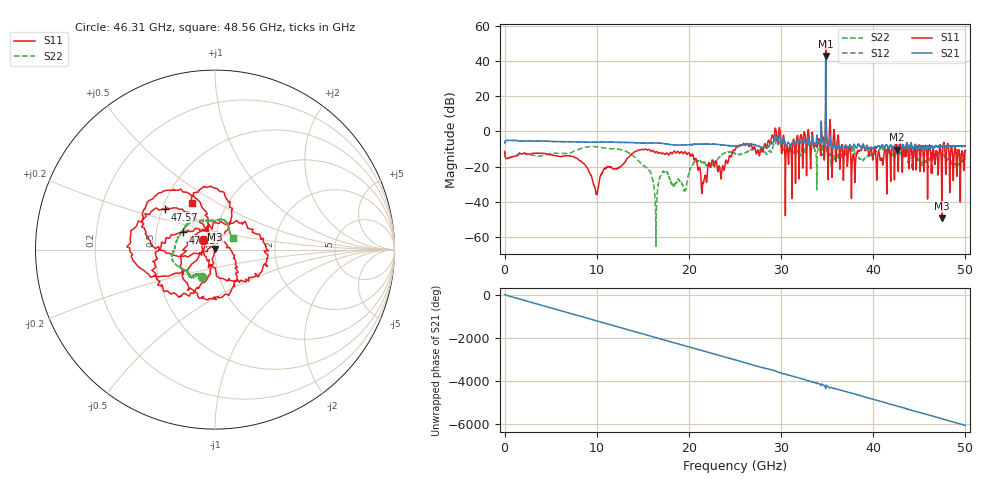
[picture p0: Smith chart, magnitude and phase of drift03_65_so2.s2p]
!Created with skrf (http://scikit-rf.org).
# Hz S RI R 50.0
!freq ReS11 ImS11 ReS21 ImS21 ReS12 ImS12 ReS22 ImS22
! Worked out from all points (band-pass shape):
!   10001 points, 300 kHz to 50 GHz, reference 50 ohm
!   highest |S21| = 42.84 dB at 34.85 GHz (marker M1); lowest = -10.4 dB at 42.56 GHz (marker M2)
!   |S21| within 3 dB of the highest: 34.84449 GHz to 34.84556 GHz (1.061 MHz wide, 0.00304 % of centre)
!   lowest |S11| = -49.2 dB at 47.44 GHz (marker M3), VSWR 1.01, Z = 50 + j0.342 ohm
!   |S11| at or under -10 dB: start of sweep to 15.23 GHz; 15.31 GHz to 25.05 GHz (9.74 GHz wide, 48.3 % of centre); 40.22 GHz to 41.61 GHz (1.394 GHz wide, 3.41 % of centre) (the widest 3 of 54)
!   |S22| runs from -65.1 to 33.9 dB; largest |S21 - S12| = 20
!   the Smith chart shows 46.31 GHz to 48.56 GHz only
!   S11 on the Smith chart (normalised r, x): 46.31 GHz: 0.87, +0.09; 47.13 GHz: 0.69, +0.14; 47.57 GHz: 0.52, +0.27; 48.56 GHz: 0.68, +0.39
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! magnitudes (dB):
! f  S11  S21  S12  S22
! 300 kHz  -11.3  -6.5  -6.5  -11.4
! 8.335 GHz  -17.1  -6.0  -6.0  -9.6
! 9.955 GHz  -35.6  -6.1  -6.1  -8.7
! 13.79 GHz  -12.6  -6.3  -6.3  -13.2
! 16.67 GHz  -12.4  -6.5  -6.5  -30.0
! 17.34 GHz  -12.8  -6.9  -6.9  -22.9
! 19.55 GHz  -11.7  -7.7  -7.7  -33.4
! 20.22 GHz  -13.8  -7.5  -7.5  -20.4
! 21.55 GHz  -28.8  -7.2  -7.2  -17.7
! 25 GHz  -10.6  -8.3  -8.2  -12.6
! 33.34 GHz  -3.8  -6.8  -6.7  -9.4
! 34.85 GHz  51.6  42.8  42.6  33.9
! 37.83 GHz  -12.8  -8.2  -8.2  -9.7
! 38.82 GHz  -8.3  -8.1  -8.1  -16.3
! 41.67 GHz  -9.1  -9.4  -9.3  -11.5
! 42.56 GHz  -8.2  -10.4  -10.5  -13.5
! 46.31 GHz  -21.5  -8.6  -8.6  -15.6
! 47.13 GHz  -13.9  -8.3  -8.3  -12.2
! 47.44 GHz  -49.2  -8.5  -8.5  -13.5
! 47.57 GHz  -8.9  -8.3  -8.3  -13.5
! 48.56 GHz  -10.8  -8.3  -8.2  -18.6
! 50 GHz  -11.1  -8.2  -8.3  -15.5
